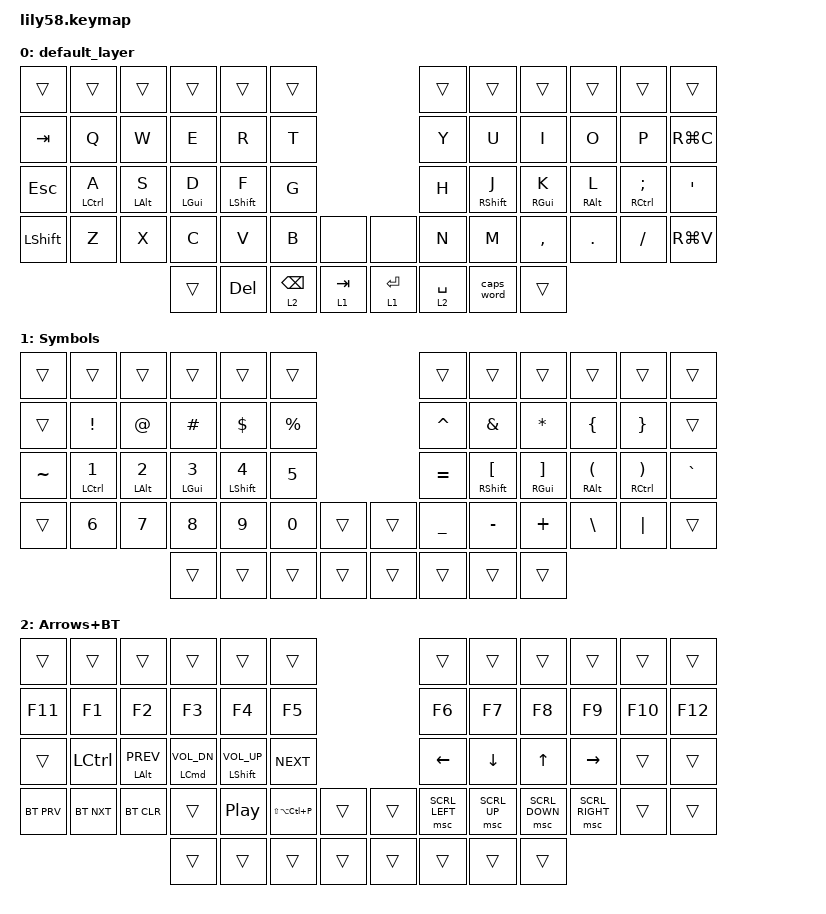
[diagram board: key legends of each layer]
/*
 * Copyright (c) 2020 The ZMK Contributors
 *
 * SPDX-License-Identifier: MIT
 */

#define ZMK_POINTING_DEFAULT_MOVE_VAL 600  // default: 600
#define ZMK_POINTING_DEFAULT_SCRL_VAL 20    // default: 10

#include <behaviors.dtsi>
#include <dt-bindings/zmk/bt.h>
#include <dt-bindings/zmk/keys.h>
#include <dt-bindings/zmk/pointing.h>

/ {
    behaviors {
        hml: homewrow_mods_left {
            compatible = "zmk,behavior-hold-tap";
            label = "HOMEROW_MODS_LEFT_HAND";
            bindings = <&kp>, <&kp>;

            #binding-cells = <2>;
            tapping-term-ms = <250>;
            hold-trigger-key-positions = <6 7 8 9 10 11 18 19 20 21 22 23 30 31 32 33 34 35 44 45 46 47 48 49 55 56 57 43 54 53 52 51>;
            flavor = "balanced";
            hold-trigger-on-release;
            require-prior-idle-ms = <70>;
            quick-tap-ms = <180>;
        };

        hmr: homewrow_mods_right {
            compatible = "zmk,behavior-hold-tap";
            label = "HOMEROW_MODS_RIGHT_HAND";
            bindings = <&kp>, <&kp>;

            #binding-cells = <2>;
            tapping-term-ms = <250>;
            hold-trigger-key-positions = <0 1 2 3 4 5 12 13 14 15 16 17 24 25 26 27 28 29 36 37 38 39 40 41 42 50 51 52 53 54 55>;
            flavor = "balanced";
            hold-trigger-on-release;
            require-prior-idle-ms = <70>;
            quick-tap-ms = <180>;
        };

        tm: thumb_mods {
            compatible = "zmk,behavior-hold-tap";
            bindings = <&mo>, <&kp>;

            #binding-cells = <2>;
            tapping-term-ms = <300>;
            flavor = "balanced";
            hold-trigger-on-release;
            hold-trigger-key-positions = <0 1 2 3 4 5 6 7 8 9 10 11 12 13 14 15 16 17 18 19 20 21 22 23 24 25 26 27 28 29 30 31 32 33 34 35 36 37 38 39 40 41 42 43 44 45 46 47 48 49>;
            label = "THUMB_MODS";
            quick-tap-ms = <260>;
        };

        hml_shift: hml_shift {
            compatible = "zmk,behavior-hold-tap";
            label = "HML_SHIFT";
            bindings = <&kp>, <&kp>;

            #binding-cells = <2>;
            tapping-term-ms = <140>;
            hold-trigger-key-positions = <6 7 8 9 10 11 18 19 20 21 22 23 30 31 32 33 34 35 44 45 46 47 48 49 55 56 57 43 54 53>;
            flavor = "balanced";
            quick-tap-ms = <180>;
            hold-trigger-on-release;
        };

        hmr_shift: hmr_shift {
            compatible = "zmk,behavior-hold-tap";
            label = "HMR_SHIFT";
            bindings = <&kp>, <&kp>;

            #binding-cells = <2>;
            tapping-term-ms = <140>;
            hold-trigger-key-positions = <0 1 2 3 4 5 12 13 14 15 16 17 24 25 26 27 28 29 36 37 38 39 40 41 42 50 51 52 53 54>;
            flavor = "balanced";
            quick-tap-ms = <180>;
            hold-trigger-on-release;
        };

        caps_word_or_layer: caps_word_or_layer {
            compatible = "zmk,behavior-hold-tap";
            label = "CAPS_WORD_OR_LAYER";
            bindings = <&mo>, <&caps_word>;

            #binding-cells = <2>;
            tapping-term-ms = <200>;
            hold-trigger-key-positions = <0 1 2 3 4 5 6 7 8 9 10 11 12 13 14 15 16 17 18 19 20 21 22 23 24 25 26 27 28 29 30 31 32 33 34 35 36 37 38 39 40 41 42 43 44 45 46 47 48 49>;
            flavor = "balanced";
            hold-trigger-on-release;
        };

        tm_hold_pref: tm_hold_pref {
            compatible = "zmk,behavior-hold-tap";
            bindings = <&mo>, <&kp>;

            #binding-cells = <2>;
            tapping-term-ms = <300>;
            flavor = "hold-preferred";
            hold-trigger-key-positions = <0 1 2 3 4 5 6 7 8 9 10 11 12 13 14 15 16 17 18 19 20 21 22 23 24 25 26 27 28 29 30 31 32 33 34 35 36 37 38 39 40 41 42 43 44 45 46 47 48 49>;
            label = "TM_HOLD_PREF";
            quick-tap-ms = <260>;
        };
    };

    keymap {
        compatible = "zmk,keymap";

        default_layer {
            // ------------------------------------------------------------------------------------------------------------
            // |  ESC  |  1  |  2  |  3   |  4   |  5   |                   |  6   |  7    |  8    |  9   |   0   |   `   |
            // |  TAB  |  Q  |  W  |  E   |  R   |  T   |                   |  Y   |  U    |  I    |  O   |   P   |   -   |
            // |  CTRL |  A  |  S  |  D   |  F   |  G   |                   |  H   |  J    |  K    |  L   |   ;   |   '   |
            // | SHIFT |  Z  |  X  |  C   |  V   |  B   |   "["  |  |  "]"  |  N   |  M    |  ,    |  .   |   /   | SHIFT |
            //                     | ALT  | GUI  | LOWER|  SPACE |  | ENTER | RAISE| BSPC  | GUI   |

            bindings = <
&trans          &trans        &trans           &trans           &trans                   &trans                                                         &trans       &trans                    &trans            &trans            &trans           &trans
&kp TAB         &kp Q         &kp W            &kp E            &kp R                    &kp T                                                          &kp Y        &kp U                     &kp I             &kp O             &kp P            &kp RG(C)
&kp ESCAPE      &hml LCTRL A  &hml LEFT_ALT S  &hml LEFT_GUI D  &hml_shift LEFT_SHIFT F  &kp G                                                          &kp H        &hmr_shift RIGHT_SHIFT J  &hmr RIGHT_GUI K  &hmr RIGHT_ALT L  &hmr RCTRL SEMI  &kp SQT
&kp LEFT_SHIFT  &kp Z         &kp X            &kp C            &kp V                    &kp B            &none                  &none                  &kp N        &kp M                     &kp COMMA         &kp DOT           &kp FSLH         &kp RG(V)
                                               &trans           &kp DEL                  &tm 2 BACKSPACE  &tm_hold_pref 1 TAB    &tm_hold_pref 1 ENTER  &tm 2 SPACE  &caps_word                &trans
            >;
        };

        Symbols {
            // ------------------------------------------------------------------------------------------------------------
            // | BTCLR | BT1 | BT2 |  BT3 |  BT4 |  BT5 |                   |      |       |       |      |       |       |
            // |  F1   |  F2 |  F3 |  F4  |  F5  |  F6  |                   |  F7  |  F8   |  F9   |  F10 |  F11  |  F12  |
            // |   `   |  !  |  @  |  #   |  $   |  %   |                   |  ^   |  &    |  *    |  (   |   )   |   ~   |
            // |       |     |     |      |      |      |        |  |       |      |  _    |  +    |  {   |   }   |  "|"  |
            //                     |      |      |      |        |  |       |      |       |       |

            bindings = <
&trans     &trans                      &trans                  &trans                  &trans                          &trans                         &trans     &trans                               &trans                        &trans                           &trans                                &trans
&trans     &kp EXCLAMATION             &kp AT_SIGN             &kp HASH                &kp DOLLAR                      &kp PERCENT                    &kp CARET  &kp AMPERSAND                        &kp ASTERISK                  &kp LEFT_BRACE                   &kp RIGHT_BRACE                       &trans
&kp TILDE  &hml LEFT_CONTROL NUMBER_1  &hml LEFT_ALT NUMBER_2  &hml LEFT_GUI NUMBER_3  &hml_shift LEFT_SHIFT NUMBER_4  &kp N5                         &kp EQUAL  &hmr_shift RIGHT_SHIFT LEFT_BRACKET  &hmr RIGHT_GUI RIGHT_BRACKET  &hmr RIGHT_ALT LEFT_PARENTHESIS  &hmr RIGHT_CONTROL RIGHT_PARENTHESIS  &kp GRAVE
&trans     &kp NUMBER_6                &kp N7                  &kp N8                  &kp N9                          &kp N0       &trans    &trans  &kp UNDER  &kp MINUS                            &kp PLUS                      &kp BACKSLASH                    &kp PIPE                              &trans
                                                               &trans                  &trans                          &trans       &trans    &trans  &trans     &trans                               &trans
            >;
        };

        Arrows+BT {
            // ------------------------------------------------------------------------------------------------------------
            // |       |     |     |      |      |      |                   |      |       |       |      |       |       |
            // |   `   |  1  |  2  |  3   |  4   |  5   |                   |  6   |   7   |   8   |  9   |   0   |       |
            // |   F1  |  F2 |  F3 |  F4  |  F5  |  F6  |                   |      |   <-  |   v   |  ^   |  ->   |       |
            // |   F7  |  F8 |  F9 |  F10 |  F11 |  F12 |        |  |       |  +   |   -   |   =   |  [   |   ]   |   \   |
            //                     |      |      |      |        |  |       |      |       |       |

            bindings = <
&trans      &trans            &trans                &trans                      &trans                       &trans                               &trans          &trans        &trans          &trans           &trans   &trans
&kp F11     &kp F1            &kp F2                &kp F3                      &kp F4                       &kp F5                               &kp F6          &kp F7        &kp F8          &kp F9           &kp F10  &kp F12
&trans      &kp LEFT_CONTROL  &hml LEFT_ALT C_PREV  &hml LEFT_COMMAND C_VOL_DN  &hml LEFT_SHIFT C_VOLUME_UP  &kp C_NEXT                           &kp LEFT        &kp DOWN      &kp UP_ARROW    &kp RIGHT        &trans   &trans
&bt BT_PRV  &bt BT_NXT        &bt BT_CLR            &trans                      &kp C_PLAY_PAUSE             &kp LS(LA(LC(P)))  &trans    &trans  &msc SCRL_LEFT  &msc SCRL_UP  &msc SCRL_DOWN  &msc SCRL_RIGHT  &trans   &trans
                                                    &trans                      &trans                       &trans             &trans    &trans  &trans          &trans        &trans
            >;
        };
    };
};
